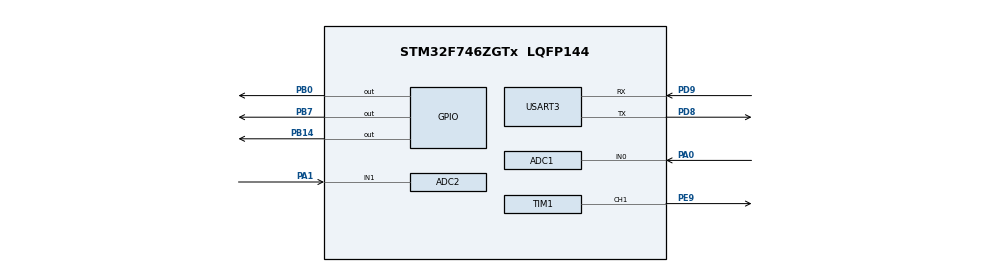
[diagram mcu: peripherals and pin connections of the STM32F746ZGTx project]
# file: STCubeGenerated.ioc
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ADC1.Channel-23\#ChannelRegularConversion=ADC_CHANNEL_0
ADC1.ClockPrescaler=ADC_CLOCK_SYNC_PCLK_DIV2
ADC1.ContinuousConvMode=DISABLE
ADC1.DMAContinuousRequests=DISABLE
ADC1.DataAlign=ADC_DATAALIGN_RIGHT
ADC1.DiscontinuousConvMode=DISABLE
ADC1.EOCSelection=ADC_EOC_SINGLE_CONV
ADC1.EnableAnalogWatchDog=false
ADC1.ExternalTrigConv=ADC_EXTERNALTRIGCONV_T1_CC1
ADC1.ExternalTrigConvEdge=ADC_EXTERNALTRIGCONVEDGE_RISING
ADC1.InjNumberOfConversion=0
ADC1.NbrOfConversion=1
ADC1.NbrOfConversionFlag=1
ADC1.Rank-23\#ChannelRegularConversion=1
ADC1.Resolution=ADC_RESOLUTION_12B
ADC1.SamplingTime-23\#ChannelRegularConversion=ADC_SAMPLETIME_3CYCLES
ADC1.ScanConvMode=DISABLE
ADC1.master=1
ADC2.Channel-8\#ChannelRegularConversion=ADC_CHANNEL_1
ADC2.ClockPrescaler=ADC_CLOCK_SYNC_PCLK_DIV2
ADC2.ContinuousConvMode=DISABLE
ADC2.DMAContinuousRequests=DISABLE
ADC2.DataAlign=ADC_DATAALIGN_RIGHT
ADC2.DiscontinuousConvMode=DISABLE
ADC2.EOCSelection=ADC_EOC_SINGLE_CONV
ADC2.EnableAnalogWatchDog=false
ADC2.ExternalTrigConv=ADC_SOFTWARE_START
ADC2.ExternalTrigConvEdge=ADC_EXTERNALTRIGCONVEDGE_NONE
ADC2.InjNumberOfConversion=0
ADC2.NbrOfConversion=1
ADC2.NbrOfConversionFlag=1
ADC2.Rank-8\#ChannelRegularConversion=1
ADC2.Resolution=ADC_RESOLUTION_12B
ADC2.SamplingTime-8\#ChannelRegularConversion=ADC_SAMPLETIME_3CYCLES
ADC2.ScanConvMode=DISABLE
Mcu.Family=STM32F7
Mcu.Name=STM32F746ZGTx
Mcu.Package=LQFP144
NVIC.ADC_IRQn=true\:0\:0\:false\:false\:true\:true
NVIC.PriorityGroup=NVIC_PRIORITYGROUP_4
NVIC.TIM1_CC_IRQn=true\:0\:0\:false\:false\:true\:true
PA0/WKUP.Signal=ADCx_IN0
PA1.Signal=ADCx_IN1
PB0.Signal=GPIO_Output
PB14.Signal=GPIO_Output
PB7.Signal=GPIO_Output
PD8.Mode=Asynchronous
PD8.Signal=USART3_TX
PD9.Mode=Asynchronous
PD9.Signal=USART3_RX
PE9.Signal=S_TIM1_CH1
ProjectManager.HeapSize=0x200
ProjectManager.StackSize=0x400
ProjectManager.TargetToolchain=MDK-ARM V5
RCC.HSE_VALUE=25000000
RCC.HSI_VALUE=16000000
RCC.LSE_VALUE=32768
RCC.USBFreq_Value=96000000
RCC.VCOOutputFreq_Value=192000000
SH.ADCx_IN0.0=ADC1_IN0,IN0
SH.ADCx_IN1.0=ADC2_IN1,IN1
SH.S_TIM1_CH1.0=TIM1_CH1,Output Compare1 CH1
TIM1.Channel-Output\ Compare1\ CH1=TIM_CHANNEL_1
TIM1.Period=1000
TIM1.Prescaler=16000-1
TIM2.Period=1000
TIM2.Prescaler=16000-1
USART3.VirtualMode-Asynchronous=VM_ASYNC
USART3.WordLength=WORDLENGTH_8B
VP_TIM1_VS_ClockSourceINT.Mode=Internal
VP_TIM2_VS_ClockSourceINT.Mode=Internal
board=STCubeGenerated

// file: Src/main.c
/**
  ******************************************************************************
  * @file           : main.c
  * @brief          : Main program body
  ******************************************************************************
  ** This notice applies to any and all portions of this file
  * that are not between comment pairs USER CODE BEGIN and
  * USER CODE END. Other portions of this file, whether
  * inserted by the user or by software development tools
  * are owned by their respective copyright owners.
  *
  * COPYRIGHT(c) 2018 STMicroelectronics
  *
  * Redistribution and use in source and binary forms, with or without modification,
  * are permitted provided that the following conditions are met:
  *   1. Redistributions of source code must retain the above copyright notice,
  *      this list of conditions and the following disclaimer.
  *   2. Redistributions in binary form must reproduce the above copyright notice,
  *      this list of conditions and the following disclaimer in the documentation
  *      and/or other materials provided with the distribution.
  *   3. Neither the name of STMicroelectronics nor the names of its contributors
  *      may be used to endorse or promote products derived from this software
  *      without specific prior written permission.
  *
  * THIS SOFTWARE IS PROVIDED BY THE COPYRIGHT HOLDERS AND CONTRIBUTORS "AS IS"
  * AND ANY EXPRESS OR IMPLIED WARRANTIES, INCLUDING, BUT NOT LIMITED TO, THE
  * IMPLIED WARRANTIES OF MERCHANTABILITY AND FITNESS FOR A PARTICULAR PURPOSE ARE
  * DISCLAIMED. IN NO EVENT SHALL THE COPYRIGHT HOLDER OR CONTRIBUTORS BE LIABLE
  * FOR ANY DIRECT, INDIRECT, INCIDENTAL, SPECIAL, EXEMPLARY, OR CONSEQUENTIAL
  * DAMAGES (INCLUDING, BUT NOT LIMITED TO, PROCUREMENT OF SUBSTITUTE GOODS OR
  * SERVICES; LOSS OF USE, DATA, OR PROFITS; OR BUSINESS INTERRUPTION) HOWEVER
  * CAUSED AND ON ANY THEORY OF LIABILITY, WHETHER IN CONTRACT, STRICT LIABILITY,
  * OR TORT (INCLUDING NEGLIGENCE OR OTHERWISE) ARISING IN ANY WAY OUT OF THE USE
  * OF THIS SOFTWARE, EVEN IF ADVISED OF THE POSSIBILITY OF SUCH DAMAGE.
  *
  ******************************************************************************
  */
#include "main.h"
#include "stm32f7xx_hal.h"

/* USER CODE BEGIN Includes */
#include <stdio.h>
/* Mike Notes:
- Prescaler:	16MHz/16000=1000Hz so if period=1000 it will overflow every 1s
															*/

/* USER CODE END Includes */

ADC_HandleTypeDef hadc1;
ADC_HandleTypeDef hadc2;

TIM_HandleTypeDef htim1;
TIM_HandleTypeDef htim2;

UART_HandleTypeDef huart3;

/* USER CODE BEGIN PV */
/* Private variables ---------------------------------------------------------*/

/* USER CODE END PV */

void SystemClock_Config(void);
static void MX_GPIO_Init(void);
static void MX_USART3_UART_Init(void);
static void MX_ADC2_Init(void);
static void MX_ADC1_Init(void);
static void MX_TIM1_Init(void);
static void MX_TIM2_Init(void);

void HAL_TIM_MspPostInit(TIM_HandleTypeDef *htim);

/* USER CODE BEGIN PFP */
/* Private function prototypes -----------------------------------------------*/

/* USER CODE END PFP */

int main(void)
{

  /* MCU Configuration----------------------------------------------------------*/

  /* Reset of all peripherals, Initializes the Flash interface and the Systick. */
  HAL_Init();

  /* Configure the system clock */
  SystemClock_Config();

  /* Initialize all configured peripherals */
  MX_GPIO_Init();
  MX_USART3_UART_Init();
  MX_ADC2_Init();
  MX_ADC1_Init();
  MX_TIM1_Init();
  MX_TIM2_Init();
  /* USER CODE BEGIN 2 */
	HAL_GPIO_WritePin(GPIOB, GPIO_PIN_7, 1);
	HAL_ADC_Init(&hadc1);
	HAL_ADC_Init(&hadc2);
	HAL_ADC_Start(&hadc1);
	HAL_ADC_Start(&hadc2);
	// HAL_ADC_Start(&hadc3);
	HAL_Delay(1000);
  /* USER CODE END 2 */

  /* Infinite loop */
  /* USER CODE BEGIN WHILE */
		uint8_t buffer[20]; // buffer size to be more precisely selected
		uint8_t input;
		int i = 0;
		int * H1;
		int * H2;

  while (1)
  {
  /* USER CODE END WHILE */

  /* USER CODE BEGIN 3 */
		if (ADC_FLAG_EOC) {
			H1[i] = HAL_ADC_GetValue(&hadc1);
			input = sprintf((char *) buffer, "Received H1: %d\n", H1[i]);
			HAL_UART_Transmit(&huart3, buffer, input, 1000);
		}
		// while(!HAL_ADC_PollForConversion(&hadc3, 10)) {}
			// H3 = HAL_ADC_GetValue(&hadc3);
		//if (H3flag) {
		//	input = sprintf((char *) buffer, "Received H3: %d \n", H3);
		//	HAL_UART_Transmit(&huart3, buffer, input, 1000);
		//	H3flag = 0;
		//	HAL_ADC_Start(&hadc3);
		//}
		//if(i < 100) {
		//	while(!HAL_ADC_PollForConversion(&hadc1, 10) & !HAL_ADC_PollForConversion(&hadc2, 10)) {}
		//	H1[i] = HAL_ADC_GetValue(&hadc1);
		//	H2[i] = HAL_ADC_GetValue(&hadc2);

		//	input = sprintf((char *) buffer, "Received H1 and H2: %d %d\n", H1[i], H2[i]);
		//	HAL_ADC_Start(&hadc1);
		//	HAL_ADC_Start(&hadc2);
		//	HAL_UART_Transmit(&huart3, buffer, input, 1000);
		//	i++;
		//}
		//else {
		//	char buffer2[20] = "else case \n";
		//	HAL_UART_Transmit(&huart3, (uint8_t *) buffer2, 11, 1000);
		//	HAL_Delay(1000);
		//}
  }
  /* USER CODE END 3 */

}

void SystemClock_Config(void)
{

  RCC_OscInitTypeDef RCC_OscInitStruct;
  RCC_ClkInitTypeDef RCC_ClkInitStruct;
  RCC_PeriphCLKInitTypeDef PeriphClkInitStruct;

    /**Configure the main internal regulator output voltage
    */
  __HAL_RCC_PWR_CLK_ENABLE();

  __HAL_PWR_VOLTAGESCALING_CONFIG(PWR_REGULATOR_VOLTAGE_SCALE3);

    /**Initializes the CPU, AHB and APB busses clocks
    */
  RCC_OscInitStruct.OscillatorType = RCC_OSCILLATORTYPE_HSI;
  RCC_OscInitStruct.HSIState = RCC_HSI_ON;
  RCC_OscInitStruct.HSICalibrationValue = 16;
  RCC_OscInitStruct.PLL.PLLState = RCC_PLL_NONE;
  if (HAL_RCC_OscConfig(&RCC_OscInitStruct) != HAL_OK)
  {
    _Error_Handler(__FILE__, __LINE__);
  }

    /**Initializes the CPU, AHB and APB busses clocks
    */
  RCC_ClkInitStruct.ClockType = RCC_CLOCKTYPE_HCLK|RCC_CLOCKTYPE_SYSCLK
                              |RCC_CLOCKTYPE_PCLK1|RCC_CLOCKTYPE_PCLK2;
  RCC_ClkInitStruct.SYSCLKSource = RCC_SYSCLKSOURCE_HSI;
  RCC_ClkInitStruct.AHBCLKDivider = RCC_SYSCLK_DIV1;
  RCC_ClkInitStruct.APB1CLKDivider = RCC_HCLK_DIV1;
  RCC_ClkInitStruct.APB2CLKDivider = RCC_HCLK_DIV1;

  if (HAL_RCC_ClockConfig(&RCC_ClkInitStruct, FLASH_LATENCY_0) != HAL_OK)
  {
    _Error_Handler(__FILE__, __LINE__);
  }

  PeriphClkInitStruct.PeriphClockSelection = RCC_PERIPHCLK_USART3;
  PeriphClkInitStruct.Usart3ClockSelection = RCC_USART3CLKSOURCE_PCLK1;
  if (HAL_RCCEx_PeriphCLKConfig(&PeriphClkInitStruct) != HAL_OK)
  {
    _Error_Handler(__FILE__, __LINE__);
  }

    /**Configure the Systick interrupt time
    */
  HAL_SYSTICK_Config(HAL_RCC_GetHCLKFreq()/1000);

    /**Configure the Systick
    */
  HAL_SYSTICK_CLKSourceConfig(SYSTICK_CLKSOURCE_HCLK);

  /* SysTick_IRQn interrupt configuration */
  HAL_NVIC_SetPriority(SysTick_IRQn, 0, 0);
}

/* ADC1 init function */
static void MX_ADC1_Init(void)
{

  ADC_ChannelConfTypeDef sConfig;

    /**Configure the global features of the ADC (Clock, Resolution, Data Alignment and number of conversion)
    */
  hadc1.Instance = ADC1;
  hadc1.Init.ClockPrescaler = ADC_CLOCK_SYNC_PCLK_DIV2;
  hadc1.Init.Resolution = ADC_RESOLUTION_12B;
  hadc1.Init.ScanConvMode = DISABLE;
  hadc1.Init.ContinuousConvMode = DISABLE;
  hadc1.Init.DiscontinuousConvMode = DISABLE;
  hadc1.Init.ExternalTrigConvEdge = ADC_EXTERNALTRIGCONVEDGE_RISING;
  hadc1.Init.ExternalTrigConv = ADC_EXTERNALTRIGCONV_T1_CC1;
  hadc1.Init.DataAlign = ADC_DATAALIGN_RIGHT;
  hadc1.Init.NbrOfConversion = 1;
  hadc1.Init.DMAContinuousRequests = DISABLE;
  hadc1.Init.EOCSelection = ADC_EOC_SINGLE_CONV;
  if (HAL_ADC_Init(&hadc1) != HAL_OK)
  {
    _Error_Handler(__FILE__, __LINE__);
  }

    /**Configure for the selected ADC regular channel its corresponding rank in the sequencer and its sample time.
    */
  sConfig.Channel = ADC_CHANNEL_0;
  sConfig.Rank = ADC_REGULAR_RANK_1;
  sConfig.SamplingTime = ADC_SAMPLETIME_3CYCLES;
  if (HAL_ADC_ConfigChannel(&hadc1, &sConfig) != HAL_OK)
  {
    _Error_Handler(__FILE__, __LINE__);
  }

}

/* ADC2 init function */
static void MX_ADC2_Init(void)
{

  ADC_ChannelConfTypeDef sConfig;

    /**Configure the global features of the ADC (Clock, Resolution, Data Alignment and number of conversion)
    */
  hadc2.Instance = ADC2;
  hadc2.Init.ClockPrescaler = ADC_CLOCK_SYNC_PCLK_DIV2;
  hadc2.Init.Resolution = ADC_RESOLUTION_12B;
  hadc2.Init.ScanConvMode = DISABLE;
  hadc2.Init.ContinuousConvMode = DISABLE;
  hadc2.Init.DiscontinuousConvMode = DISABLE;
  hadc2.Init.ExternalTrigConvEdge = ADC_EXTERNALTRIGCONVEDGE_NONE;
  hadc2.Init.ExternalTrigConv = ADC_SOFTWARE_START;
  hadc2.Init.DataAlign = ADC_DATAALIGN_RIGHT;
  hadc2.Init.NbrOfConversion = 1;
  hadc2.Init.DMAContinuousRequests = DISABLE;
  hadc2.Init.EOCSelection = ADC_EOC_SINGLE_CONV;
  if (HAL_ADC_Init(&hadc2) != HAL_OK)
  {
    _Error_Handler(__FILE__, __LINE__);
  }

    /**Configure for the selected ADC regular channel its corresponding rank in the sequencer and its sample time.
    */
  sConfig.Channel = ADC_CHANNEL_1;
  sConfig.Rank = ADC_REGULAR_RANK_1;
  sConfig.SamplingTime = ADC_SAMPLETIME_3CYCLES;
  if (HAL_ADC_ConfigChannel(&hadc2, &sConfig) != HAL_OK)
  {
    _Error_Handler(__FILE__, __LINE__);
  }

}

/* TIM1 init function */
static void MX_TIM1_Init(void)
{

  TIM_ClockConfigTypeDef sClockSourceConfig;
  TIM_MasterConfigTypeDef sMasterConfig;
  TIM_OC_InitTypeDef sConfigOC;
  TIM_BreakDeadTimeConfigTypeDef sBreakDeadTimeConfig;

  htim1.Instance = TIM1;
  htim1.Init.Prescaler = 16000-1;
  htim1.Init.CounterMode = TIM_COUNTERMODE_UP;
  htim1.Init.Period = 1000;
  htim1.Init.ClockDivision = TIM_CLOCKDIVISION_DIV1;
  htim1.Init.RepetitionCounter = 0;
  htim1.Init.AutoReloadPreload = TIM_AUTORELOAD_PRELOAD_DISABLE;
  if (HAL_TIM_Base_Init(&htim1) != HAL_OK)
  {
    _Error_Handler(__FILE__, __LINE__);
  }

  sClockSourceConfig.ClockSource = TIM_CLOCKSOURCE_INTERNAL;
  if (HAL_TIM_ConfigClockSource(&htim1, &sClockSourceConfig) != HAL_OK)
  {
    _Error_Handler(__FILE__, __LINE__);
  }

  if (HAL_TIM_OC_Init(&htim1) != HAL_OK)
  {
    _Error_Handler(__FILE__, __LINE__);
  }

  sMasterConfig.MasterOutputTrigger = TIM_TRGO_RESET;
  sMasterConfig.MasterOutputTrigger2 = TIM_TRGO2_RESET;
  sMasterConfig.MasterSlaveMode = TIM_MASTERSLAVEMODE_DISABLE;
  if (HAL_TIMEx_MasterConfigSynchronization(&htim1, &sMasterConfig) != HAL_OK)
  {
    _Error_Handler(__FILE__, __LINE__);
  }

  sConfigOC.OCMode = TIM_OCMODE_TIMING;
  sConfigOC.Pulse = 0;
  sConfigOC.OCPolarity = TIM_OCPOLARITY_HIGH;
  sConfigOC.OCNPolarity = TIM_OCNPOLARITY_HIGH;
  sConfigOC.OCFastMode = TIM_OCFAST_DISABLE;
  sConfigOC.OCIdleState = TIM_OCIDLESTATE_RESET;
  sConfigOC.OCNIdleState = TIM_OCNIDLESTATE_RESET;
  if (HAL_TIM_OC_ConfigChannel(&htim1, &sConfigOC, TIM_CHANNEL_1) != HAL_OK)
  {
    _Error_Handler(__FILE__, __LINE__);
  }

  sBreakDeadTimeConfig.OffStateRunMode = TIM_OSSR_DISABLE;
  sBreakDeadTimeConfig.OffStateIDLEMode = TIM_OSSI_DISABLE;
  sBreakDeadTimeConfig.LockLevel = TIM_LOCKLEVEL_OFF;
  sBreakDeadTimeConfig.DeadTime = 0;
  sBreakDeadTimeConfig.BreakState = TIM_BREAK_DISABLE;
  sBreakDeadTimeConfig.BreakPolarity = TIM_BREAKPOLARITY_HIGH;
  sBreakDeadTimeConfig.BreakFilter = 0;
  sBreakDeadTimeConfig.Break2State = TIM_BREAK2_DISABLE;
  sBreakDeadTimeConfig.Break2Polarity = TIM_BREAK2POLARITY_HIGH;
  sBreakDeadTimeConfig.Break2Filter = 0;
  sBreakDeadTimeConfig.AutomaticOutput = TIM_AUTOMATICOUTPUT_DISABLE;
  if (HAL_TIMEx_ConfigBreakDeadTime(&htim1, &sBreakDeadTimeConfig) != HAL_OK)
  {
    _Error_Handler(__FILE__, __LINE__);
  }

  HAL_TIM_MspPostInit(&htim1);

}

/* TIM2 init function */
static void MX_TIM2_Init(void)
{

  TIM_ClockConfigTypeDef sClockSourceConfig;
  TIM_MasterConfigTypeDef sMasterConfig;

  htim2.Instance = TIM2;
  htim2.Init.Prescaler = 16000-1;
  htim2.Init.CounterMode = TIM_COUNTERMODE_UP;
  htim2.Init.Period = 1000;
  htim2.Init.ClockDivision = TIM_CLOCKDIVISION_DIV1;
  htim2.Init.AutoReloadPreload = TIM_AUTORELOAD_PRELOAD_DISABLE;
  if (HAL_TIM_Base_Init(&htim2) != HAL_OK)
  {
    _Error_Handler(__FILE__, __LINE__);
  }

  sClockSourceConfig.ClockSource = TIM_CLOCKSOURCE_INTERNAL;
  if (HAL_TIM_ConfigClockSource(&htim2, &sClockSourceConfig) != HAL_OK)
  {
    _Error_Handler(__FILE__, __LINE__);
  }

  sMasterConfig.MasterOutputTrigger = TIM_TRGO_RESET;
  sMasterConfig.MasterSlaveMode = TIM_MASTERSLAVEMODE_DISABLE;
  if (HAL_TIMEx_MasterConfigSynchronization(&htim2, &sMasterConfig) != HAL_OK)
  {
    _Error_Handler(__FILE__, __LINE__);
  }

}

/* USART3 init function */
static void MX_USART3_UART_Init(void)
{

  huart3.Instance = USART3;
  huart3.Init.BaudRate = 115200;
  huart3.Init.WordLength = UART_WORDLENGTH_8B;
  huart3.Init.StopBits = UART_STOPBITS_1;
  huart3.Init.Parity = UART_PARITY_NONE;
  huart3.Init.Mode = UART_MODE_TX_RX;
  huart3.Init.HwFlowCtl = UART_HWCONTROL_NONE;
  huart3.Init.OverSampling = UART_OVERSAMPLING_16;
  huart3.Init.OneBitSampling = UART_ONE_BIT_SAMPLE_DISABLE;
  huart3.AdvancedInit.AdvFeatureInit = UART_ADVFEATURE_NO_INIT;
  if (HAL_UART_Init(&huart3) != HAL_OK)
  {
    _Error_Handler(__FILE__, __LINE__);
  }

}

/** Configure pins as
        * Analog
        * Input
        * Output
        * EVENT_OUT
        * EXTI
*/
static void MX_GPIO_Init(void)
{

  GPIO_InitTypeDef GPIO_InitStruct;

  /* GPIO Ports Clock Enable */
  __HAL_RCC_GPIOA_CLK_ENABLE();
  __HAL_RCC_GPIOB_CLK_ENABLE();
  __HAL_RCC_GPIOE_CLK_ENABLE();
  __HAL_RCC_GPIOD_CLK_ENABLE();

  /*Configure GPIO pin Output Level */
  HAL_GPIO_WritePin(GPIOB, GPIO_PIN_0|GPIO_PIN_14|GPIO_PIN_7, GPIO_PIN_RESET);

  /*Configure GPIO pins : PB0 PB14 PB7 */
  GPIO_InitStruct.Pin = GPIO_PIN_0|GPIO_PIN_14|GPIO_PIN_7;
  GPIO_InitStruct.Mode = GPIO_MODE_OUTPUT_PP;
  GPIO_InitStruct.Pull = GPIO_NOPULL;
  GPIO_InitStruct.Speed = GPIO_SPEED_FREQ_LOW;
  HAL_GPIO_Init(GPIOB, &GPIO_InitStruct);

}

void _Error_Handler(char *file, int line)
{
  while(1)
  {
  }
}

/************************ (C) COPYRIGHT STMicroelectronics *****END OF FILE****/
